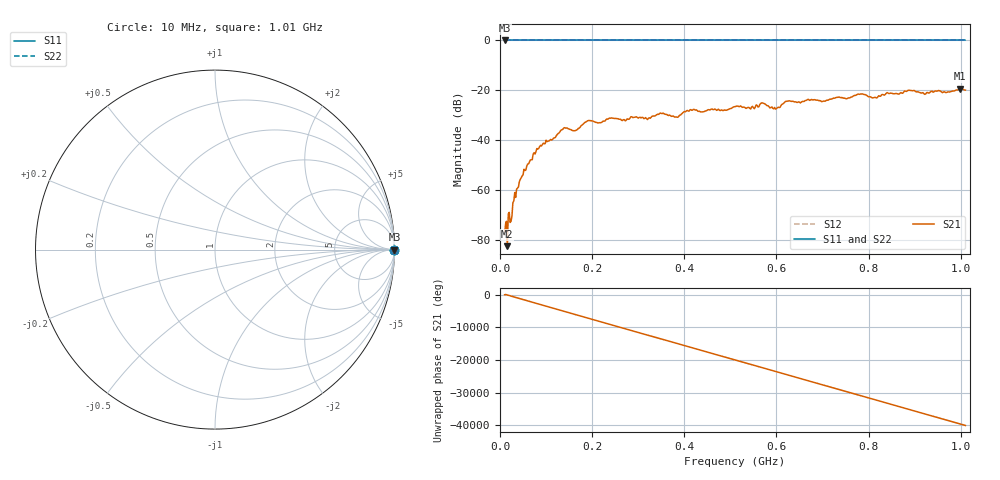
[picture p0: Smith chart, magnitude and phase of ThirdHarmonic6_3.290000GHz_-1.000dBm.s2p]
! 8/17/2025 10:13:50 AM
! C:\ANRITSUVNA\TEMP\TEMP.S2P
! CHANNEL.1
! TR.MEASUREMENT
! RAW.DATA
! RF.CORRECTION.OFF
! AVERAGING.OFF
! IF.BANDWIDTH: 5KHZ
! SWEEPTYPE:  FREQ.SWEEP(Linear)
! Reference Plane Port Info
! PORT:  PORT1  PORT2
! DISTANCE:  0  m  0  m
! TIME:  0  s  0  s
! PHASE.OFFSET:  0  deg.  0  deg.
! LOSS:  0  dB  0  dB
! REF.LOSS:  0  dB  0  dB
! REF.FREQ:  0  Hz  0  Hz
! Power Info
! POWER:  -20  dBm  -20  dBm
! EFF.POWER:  -20  dBm  -20  dBm
! SOURCE.ATTEN:  0  dB  0  dB
! TEST.ATTEN:  0  dB  0  dB
# GHZ S RI R 50.0
! FREQ.GHZ  S11RE  S11IM  S21RE  S21IM  S12RE  S12IM  S22RE  S22IM
!; PortSelection: Port_12
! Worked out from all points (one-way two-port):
!   501 points, 10 MHz to 1.01 GHz, reference 50 ohm
!   highest |S21| = -19.31 dB at 998 MHz (marker M1); lowest = -82.6 dB at 16 MHz (marker M2)
!   lowest |S11| = 0.0 dB at 10 MHz (marker M3)
!   |S11| at or under -10 dB: nowhere
!   |S22| runs from 0.0 to 0.0 dB; largest |S21 - S12| = 1.1
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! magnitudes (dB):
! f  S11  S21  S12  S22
! 10 MHz  0.0  -77.9  0.0  0.0
! 12 MHz  0.0  -73.7  0.0  0.0
! 16 MHz  0.0  -82.6  0.0  0.0
! 20 MHz  0.0  -69.0  0.0  0.0
! 32 MHz  0.0  -61.1  0.0  0.0
! 48 MHz  0.0  -54.4  0.0  0.0
! 76 MHz  0.0  -45.6  0.0  0.0
! 136 MHz  0.0  -35.7  0.0  0.0
! 162 MHz  0.0  -36.2  0.0  0.0
! 178 MHz  0.0  -33.9  0.0  0.0
! 194 MHz  0.0  -32.1  0.0  0.0
! 344 MHz  0.0  -29.7  0.0  0.0
! 382 MHz  0.0  -30.7  0.0  0.0
! 416 MHz  0.0  -28.0  0.0  0.0
! 510 MHz  0.0  -26.6  0.0  0.0
! 570 MHz  0.0  -25.1  0.0  0.0
! 596 MHz  0.0  -26.9  0.0  0.0
! 624 MHz  0.0  -24.3  0.0  0.0
! 678 MHz  0.0  -23.8  0.0  0.0
! 844 MHz  0.0  -21.3  0.0  0.0
! 998 MHz  0.0  -19.3  0.0  0.0
! 1.01 GHz  0.0  -19.9  0.0  0.0
